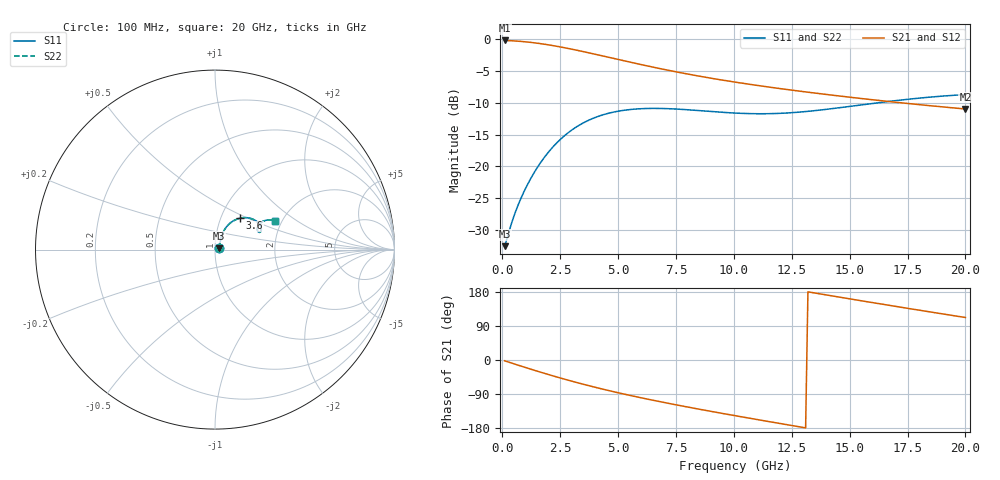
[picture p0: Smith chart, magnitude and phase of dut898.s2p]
! Touchstone file exported from HFSS 2024.1.0
!  File:  C:/UserFiles/LocalFiles/RDL_TSV_Batchsim/temp_RDL_TSV_898_1779934123.aedt
!  Generated:  10:24:39 AM May 28, 2026
!  Design:  RDL_TSV
!  Project:  temp_RDL_TSV_898_1779934123
!  Setup:  Setup1
!  Solution:  Sweep
! Variables:
!  dtsv = 6.16um
!  hbump = 3um
!  htsv = 94.28um
!  ldown = 506.78um
!  lrdl = 492.28um
!  p = 40
!  p1 = 50.59um
!  rhole = 10um
!  subl = 3489.46um
!  t = 450um
!  tdown = 2.75um
!  trdl = 3.03um
!  viad = 10um
!  wdown = 19.21um
!  wrdl = 21.31um
!  xbump = 18um
# GHz S MA R 50.000000
! Terminal data exported
! Port[1] = TM1_1_T1
! Port[2] = TM1_4_T1
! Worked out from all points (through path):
!   200 points, 100 MHz to 20 GHz, reference 50 ohm
!   highest |S21| = -0.20 dB at 100 MHz (marker M1); lowest = -11.0 dB at 20 GHz (marker M2)
!   group delay of S21, straight-line fit = 32.7 ps
!   lowest |S11| = -32.5 dB at 100 MHz (marker M3), VSWR 1.05, Z = 52.3 + j0.71 ohm
!   |S11| at or under -10 dB: start of sweep to 16.2 GHz
!   |S22| runs from -32.5 to -8.7 dB; largest |S21 - S12| = 4.6e-14
!   S11 on the Smith chart (normalised r, x): 100 MHz: 1.05, +0.01; 3.6 GHz: 1.23, +0.46; 20 GHz: 1.84, +0.67
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0.1  0.02365 16.7  0.9772 -2.1  0.9772 -2.1  0.02365 16.7
! Gamma 0 0 0 0
! Port Impedance 50 0 50 0
0.4  0.03583 44.2  0.9719 -8.1  0.9719 -8.1  0.03583 44.2
0.7  0.05062 55.4  0.9639 -14.0  0.9639 -14.0  0.05062 55.4
1.1  0.07277 62.5  0.9494 -21.7  0.9494 -21.7  0.07276 62.4
1.5  0.09737 64.8  0.9307 -29.3  0.9307 -29.3  0.09733 64.8
2  0.1301 64.1  0.9022 -38.5  0.9022 -38.5  0.13 64.0
2.5  0.1627 61.1  0.8697 -47.4  0.8697 -47.4  0.1626 61.0
3  0.1933 56.9  0.8347 -55.9  0.8347 -55.9  0.193 56.9
3.5  0.22 52.2  0.7986 -64.1  0.7986 -64.1  0.2197 52.1
3.6  0.2248 51.3  0.7913 -65.7  0.7913 -65.7  0.2245 51.2
4.3  0.253 44.6  0.741 -76.4  0.741 -76.4  0.2526 44.5
5.2  0.2755 36.9  0.6801 -89.2  0.6801 -89.2  0.2749 36.8
6  0.2844 31.2  0.6312 -99.8  0.6312 -99.8  0.2837 31.1
6.8  0.2857 26.8  0.5878 -109.9  0.5878 -109.9  0.285 26.7
8.4  0.2757 21.8  0.5163 -128.7  0.5163 -128.7  0.2748 21.8
10.1  0.2625 21.6  0.4585 -147.4  0.4585 -147.4  0.2617 21.7
11.7  0.2603 24.7  0.416 -164.5  0.416 -164.5  0.2596 24.8
13.4  0.2733 28.5  0.3792 177.8  0.3792 177.8  0.2728 28.6
15.1  0.298 30.4  0.3484 160.4  0.3484 160.4  0.2976 30.5
16.7  0.3245 30.1  0.3236 144.3  0.3236 144.3  0.3243 30.2
18.3  0.3484 28.2  0.3023 128.6  0.3023 128.6  0.3482 28.3
20  0.3672 25.4  0.2829 112.1  0.2829 112.1  0.3672 25.5
